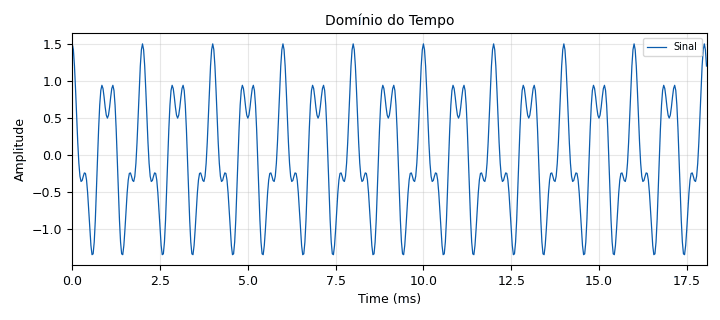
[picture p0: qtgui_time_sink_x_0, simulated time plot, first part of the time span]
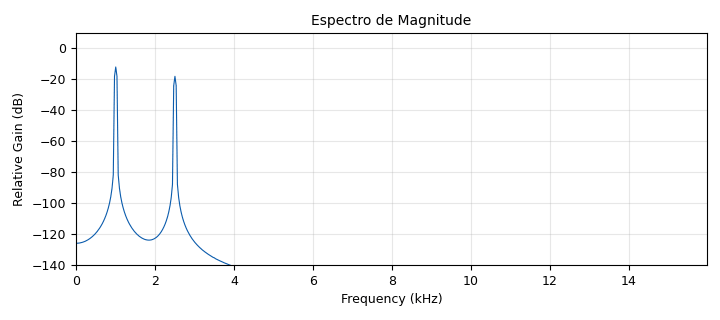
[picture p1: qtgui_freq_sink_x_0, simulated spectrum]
options:
  parameters:
    author: Prof. Daniel Costa Araújo
    description: Prática 01 - FFT e Análise Espectral
    generate_options: qt_gui
    id: pratica_01_fft_analise_espectral
    output_language: python
    title: Prática 01 - FFT e Análise Espectral
  states: {}

blocks:
- name: samp_rate
  id: variable
  parameters:
    comment: Taxa de amostragem
    value: '32000'
  states: {}
- name: freq1
  id: variable_qtgui_range
  parameters:
    comment: Frequência do tom 1
    gui_hint: 0,0,1,1
    label: Frequência 1 (Hz)
    start: '200'
    step: '100'
    stop: '8000'
    value: '1000'
  states: {}
- name: amp1
  id: variable_qtgui_range
  parameters:
    comment: Amplitude do tom 1
    gui_hint: 0,1,1,1
    label: Amplitude 1
    start: '0'
    step: '0.1'
    stop: '2'
    value: '1.0'
  states: {}
- name: freq2
  id: variable_qtgui_range
  parameters:
    comment: Frequência do tom 2
    gui_hint: 1,0,1,1
    label: Frequência 2 (Hz)
    start: '200'
    step: '100'
    stop: '8000'
    value: '2500'
  states: {}
- name: amp2
  id: variable_qtgui_range
  parameters:
    comment: Amplitude do tom 2
    gui_hint: 1,1,1,1
    label: Amplitude 2
    start: '0'
    step: '0.1'
    stop: '2'
    value: '0.5'
  states: {}
- name: noise_amp
  id: variable_qtgui_range
  parameters:
    comment: Amplitude do ruído gaussiano
    gui_hint: 2,0,1,2
    label: Amplitude Ruído
    start: '0'
    step: '0.1'
    stop: '10'
    value: '0'
  states: {}
- name: analog_sig_source_x_0
  id: analog_sig_source_x
  parameters:
    amp: amp1
    comment: Tom 1
    freq: freq1
    offset: '0'
    phase: '0'
    samp_rate: samp_rate
    type: float
    waveform: analog.GR_COS_WAVE
  states: {}
- name: analog_sig_source_x_1
  id: analog_sig_source_x
  parameters:
    amp: amp2
    comment: Tom 2
    freq: freq2
    offset: '0'
    phase: '0'
    samp_rate: samp_rate
    type: float
    waveform: analog.GR_COS_WAVE
  states: {}
- name: analog_noise_source_x_0
  id: analog_noise_source_x
  parameters:
    amp: noise_amp
    comment: Ruído Gaussiano
    noise_type: analog.GR_GAUSSIAN
    seed: '0'
    type: float
  states: {}
- name: blocks_add_xx_0
  id: blocks_add_xx
  parameters:
    comment: Soma dos dois tons
    type: float
  states: {}
- name: blocks_add_xx_1
  id: blocks_add_xx
  parameters:
    comment: Soma sinal + ruído
    type: float
  states: {}
- name: blocks_throttle2_0
  id: blocks_throttle2
  parameters:
    samples_per_second: samp_rate
    type: float
  states: {}
- name: qtgui_time_sink_x_0
  id: qtgui_time_sink_x
  parameters:
    autoscale: 'True'
    grid: 'True'
    gui_hint: 3,0,1,1
    label1: Sinal
    name: '"Domínio do Tempo"'
    size: '1024'
    srate: samp_rate
    type: float
    ymax: '3'
    ymin: '-3'
  states: {}
- name: qtgui_freq_sink_x_0
  id: qtgui_freq_sink_x
  parameters:
    bw: samp_rate
    ctrlpanel: 'True'
    fc: '0'
    fftsize: '1024'
    freqhalf: 'False'
    grid: 'True'
    gui_hint: 3,1,1,1
    name: '"Espectro de Magnitude"'
    type: float
    wintype: window.WIN_HANN
  states: {}

connections:
- [analog_sig_source_x_0, '0', blocks_add_xx_0, '0']
- [analog_sig_source_x_1, '0', blocks_add_xx_0, '1']
- [blocks_add_xx_0, '0', blocks_add_xx_1, '0']
- [analog_noise_source_x_0, '0', blocks_add_xx_1, '1']
- [blocks_add_xx_1, '0', blocks_throttle2_0, '0']
- [blocks_throttle2_0, '0', qtgui_time_sink_x_0, '0']
- [blocks_throttle2_0, '0', qtgui_freq_sink_x_0, '0']

metadata:
  file_format: 1
  grc_version: 3.10.12.0
